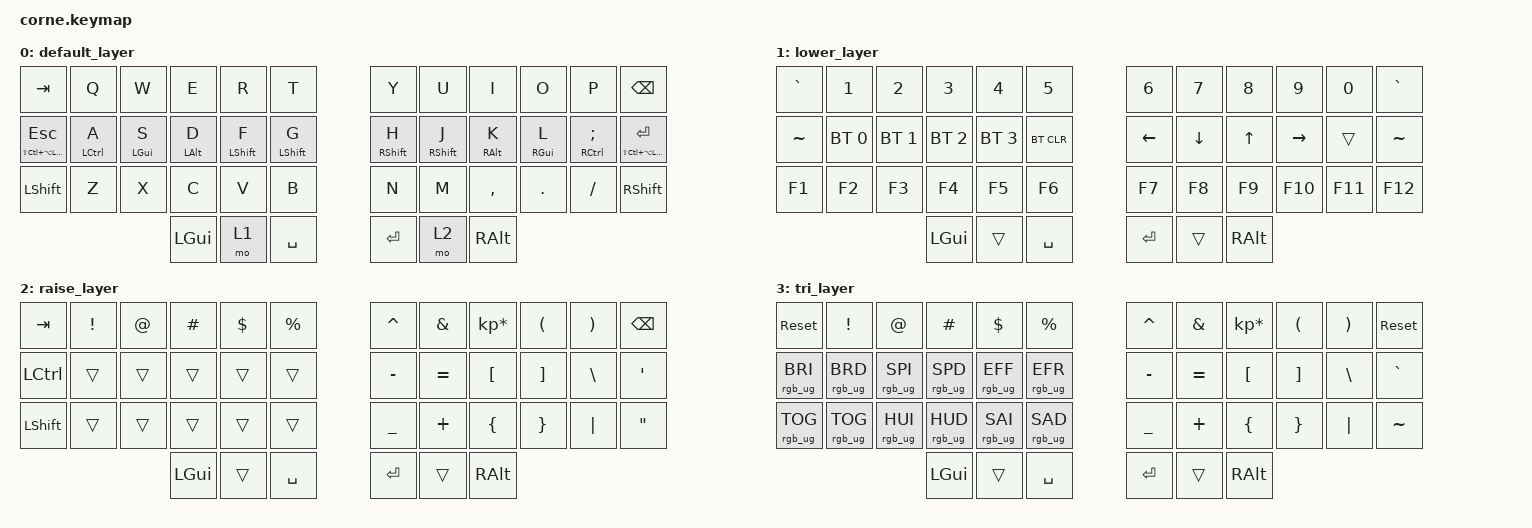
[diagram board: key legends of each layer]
/*
 * Copyright (c) 2020 The ZMK Contributors
 *
 * SPDX-License-Identifier: MIT
 */

#include <behaviors.dtsi>
#include <dt-bindings/zmk/keys.h>
#include <dt-bindings/zmk/bt.h>
#include <dt-bindings/zmk/rgb.h>


&led_strip {
    chain-length = <27>;
       };


/* Custom Defined Behaviors */
/ {
    behaviors {
      lh_pht: home_row_left_mod_tap {
            compatible = "zmk,behavior-hold-tap";
            #binding-cells = <2>;
    tapping-term-ms = <200>;
    quick-tap-ms = <200>;
    require-prior-idle-ms = <125>;
            flavor = "tap-preferred";
        bindings = <&kp>, <&kp>;
      };

      rh_pht: home_row_right_mod_tap {
            compatible = "zmk,behavior-hold-tap";
            #binding-cells = <2>;
    tapping-term-ms = <200>;
    quick-tap-ms = <200>;
    require-prior-idle-ms = <125>;
            flavor = "tap-preferred";
        bindings = <&kp>, <&kp>;
      };
    };
};



/ {


    conditional_layers {
        compatible = "zmk,conditional-layers";
        tri_layer {
            if-layers = <1 2>;
            then-layer = <3>;
        };
    };
        keymap {
                compatible = "zmk,keymap";

                default_layer {
// -----------------------------------------------------------------------------------------
// |  TAB |  Q  |  W  |  E  |  R  |  T  |   |  Y  |  U   |  I  |  O  |  P  | BKSP |
// |  ESC |  A  |  S  |  D  |  F  |  G  |   |  H  |  J   |  K  |  L  |  ;  | CTRL |
// | SHFT |  Z  |  X  |  C  |  V  |  B  |   |  N  |  M   |  ,  |  .  |  /  | SHFT |
//                    | GUI | LWR | SPC |   | ENT | RSE  | ALT |
                        bindings = <
   &kp TAB   &kp Q &kp W &kp E &kp R &kp T   &kp Y &kp U  &kp I     &kp O   &kp P    &kp BSPC
   &lh_pht LS(LC(LA(LGUI))) ESC &lh_pht LCTL  A  &lh_pht LGUI  S &lh_pht LALT D &lh_pht LSHIFT F &lh_pht LSHIFT G   &rh_pht RSHIFT H &rh_pht RSHIFT J &rh_pht RALT K &rh_pht RGUI L &rh_pht RCTL SEMI  &rh_pht LS(LC(LA(LGUI))) RET
   &kp LSHFT &kp Z &kp X &kp C &kp V &kp B   &kp N &kp M  &kp COMMA &kp DOT &kp FSLH &kp RSHFT
                  &kp LGUI &mo 1 &kp SPACE   &kp RET &mo 2 &kp RALT
                        >;
                };
                lower_layer {
// -----------------------------------------------------------------------------------------
// |  `   |  1  |  2  |  3  |  4  |  5  |   |  6  |  7  |  8  |  9  |  0  |  `   |
// |  ~   | BT1 | BT2 | BT3 | BT4 | BT5 |   | LFT | DWN |  UP | RGT |     |  ~   |
// | SHFT |     |     |     |     |     |   |     |     |     |     |     |      |
//                    | GUI |     | SPC |   | ENT |     | ALT |
                        bindings = <
   &kp GRAVE    &kp N1       &kp N2       &kp N3       &kp N4       &kp N5         &kp N6   &kp N7   &kp N8 &kp N9    &kp N0 &kp GRAVE
   &kp TILDE &bt BT_SEL 0 &bt BT_SEL 1 &bt BT_SEL 2 &bt BT_SEL 3 &bt BT_CLR   &kp LEFT &kp DOWN &kp UP &kp RIGHT &trans &kp TILDE
   &kp F1  &kp F2      &kp F3      &kp F4      &kp F5       &kp F6      &kp F7  &kp F8   &kp F9 &kp F10   &kp F11 &kp F12
                                      &kp LGUI     &trans       &kp SPACE      &kp RET  &trans   &kp RALT
                        >;
                };

                raise_layer {
// -----------------------------------------------------------------------------------------
// |  TAB |  !  |  @  |  #  |  $  |  %  |   |  ^  |  &  |  *  |  (  |  )  | BKSP |
// | CTRL |     |     |     |     |     |   |  -  |  =  |  [  |  ]  |  \  |  '   |
// | SHFT |     |     |     |     |     |   |  _  |  +  |  {  |  }  | "|" |  "   |
//                    | GUI |     | SPC |   | ENT |     | ALT |
                        bindings = <
   &kp  TAB  &kp EXCL &kp AT &kp HASH &kp DLLR &kp PRCNT   &kp CARET &kp AMPS  &kp KP_MULTIPLY &kp LPAR &kp RPAR &kp BSPC
   &kp LCTRL &trans   &trans &trans   &trans   &trans      &kp MINUS &kp EQUAL &kp LBKT        &kp RBKT &kp BSLH &kp SQT
   &kp LSHFT &trans   &trans &trans   &trans   &trans      &kp UNDER &kp PLUS  &kp LBRC        &kp RBRC &kp PIPE &kp DQT
                             &kp LGUI &trans   &kp SPACE   &kp RET   &trans    &kp RALT
                        >;
                };

                tri_layer {
// -----------------------------------------------------------------------------------------
// |  TAB |  !  |  @  |  #  |  $  |  %  |   |  ^  |  &  |  *  |  (  |  )  | BKSP |
// | CTRL |     |     |     |     |     |   |  -  |  =  |  [  |  ]  |  \  |  `   |
// | SHFT |     |     |     |     |     |   |  _  |  +  |  {  |  }  | "|" |  ~   |
//                    | GUI |     | SPC |   | ENT |     | ALT |
                        bindings = <
   &sys_reset  &kp EXCL &kp AT &kp HASH &kp DLLR &kp PRCNT   &kp CARET &kp AMPS  &kp KP_MULTIPLY &kp LPAR &kp RPAR &sys_reset
   &rgb_ug RGB_BRI &rgb_ug RGB_BRD  &rgb_ug RGB_SPI   &rgb_ug RGB_SPD    &rgb_ug RGB_EFF  &rgb_ug RGB_EFR   &kp MINUS &kp EQUAL &kp LBKT        &kp RBKT &kp BSLH &kp GRAVE
   &rgb_ug RGB_TOG &rgb_ug RGB_TOG  &rgb_ug RGB_HUI   &rgb_ug RGB_HUD    &rgb_ug RGB_SAI  &rgb_ug RGB_SAD   &kp UNDER &kp PLUS  &kp LBRC        &kp RBRC &kp PIPE &kp TILDE
                             &kp LGUI &trans &kp SPACE      &kp RET &trans &kp RALT

                        >;
                };
        };
};
